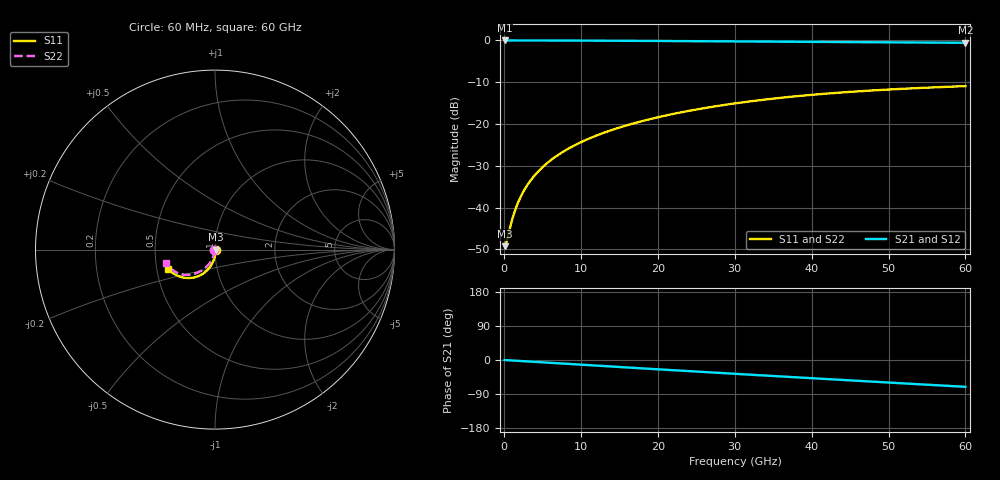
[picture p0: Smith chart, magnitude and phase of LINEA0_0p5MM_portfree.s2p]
! CST run with both port regions removed (series 2.809 pH, shunt 1.280 fF each)
# GHz S MA R 50
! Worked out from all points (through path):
!   1000 points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, 60 MHz to 60 GHz, reference 50 ohm
!   highest |S21| = -0.03 dB at 60 MHz (marker M1); lowest = -0.6 dB at 60 GHz (marker M2)
!   group delay of S21, straight-line fit = 3.27 ps
!   lowest |S11| = -49.2 dB at 60 MHz (marker M3), VSWR 1.01, Z = 50.3 - j0.037 ohm
!   |S11| at or under -10 dB: start of sweep to end of sweep
!   |S22| runs from -49.2 to -10.9 dB; largest |S21 - S12| = 2e-07
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0.06  0.003463 -6.1  0.9966 -0.1  0.9966 -0.1  0.003463 -174.1
0.24  0.003738 -23.2  0.9966 -0.3  0.9966 -0.3  0.003738 -157.4
0.36  0.004076 -32.7  0.9965 -0.4  0.9965 -0.4  0.004076 -148.2
1.14  0.007719 -64.7  0.9965 -1.4  0.9965 -1.4  0.007719 -118.1
1.44  0.009381 -70.0  0.9965 -1.8  0.9965 -1.8  0.009381 -113.6
1.74  0.01109 -73.7  0.9964 -2.2  0.9964 -2.2  0.01109 -110.6
2.1  0.01318 -77.1  0.9964 -2.6  0.9964 -2.6  0.01318 -108.2
2.52  0.01565 -79.9  0.9963 -3.1  0.9963 -3.1  0.01565 -106.3
3.48  0.02137 -84.4  0.9961 -4.3  0.9961 -4.3  0.02137 -104.3
4.74  0.02893 -88.1  0.9957 -5.9  0.9957 -5.9  0.02893 -103.6
6.24  0.03797 -91.4  0.995 -7.8  0.995 -7.8  0.03797 -104.1
7.98  0.04847 -94.4  0.9941 -9.9  0.9941 -9.9  0.04847 -105.5
10.08  0.06114 -97.5  0.9926 -12.5  0.9926 -12.5  0.06114 -107.6
12.18  0.0738 -100.3  0.991 -15.1  0.991 -15.1  0.0738 -109.9
14.52  0.08785 -103.3  0.9888 -17.9  0.9888 -17.9  0.08785 -112.6
20.04  0.1206 -110.2  0.9828 -24.6  0.9828 -24.6  0.1206 -119.1
24.78  0.1478 -116.0  0.9772 -30.3  0.9772 -30.3  0.1478 -124.5
30.06  0.1764 -122.6  0.9709 -36.5  0.9709 -36.5  0.1764 -130.4
34.86  0.2003 -128.5  0.9653 -42.1  0.9653 -42.1  0.2003 -135.7
40.02  0.2231 -134.8  0.9595 -48.1  0.9595 -48.1  0.2231 -141.3
50.04  0.2582 -146.5  0.9477 -59.6  0.9477 -59.6  0.2582 -152.7
60  0.2839 -157.2  0.9347 -70.8  0.9347 -70.8  0.2839 -164.4
